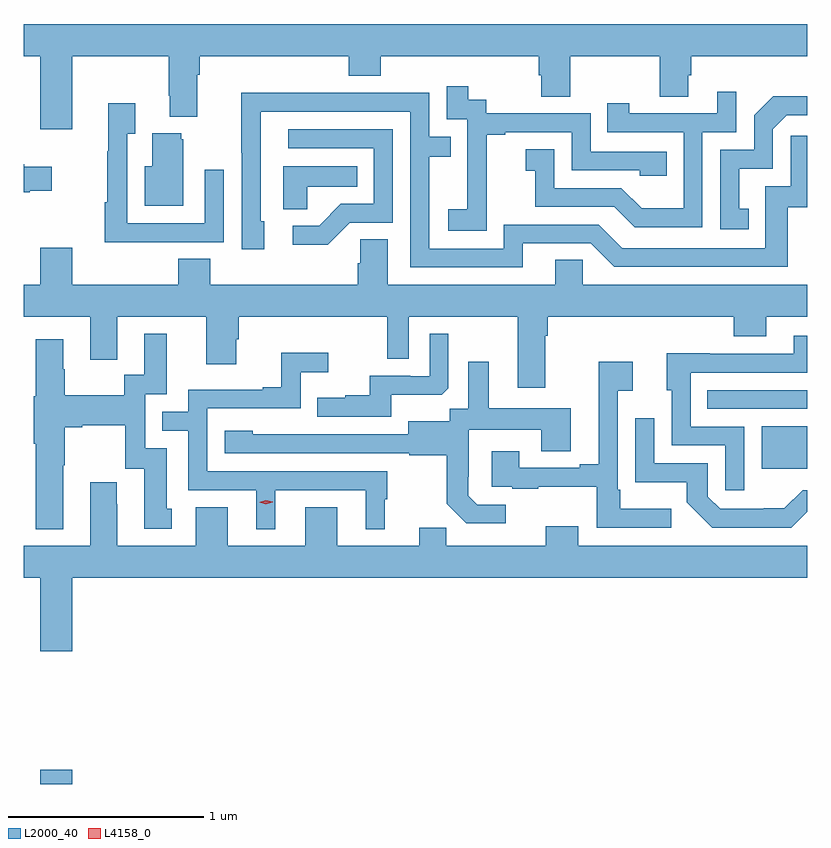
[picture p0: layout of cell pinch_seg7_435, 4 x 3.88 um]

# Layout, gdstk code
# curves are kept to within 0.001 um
import gdstk
lib = gdstk.Library(unit=1e-6, precision=1e-09)
def R(c, l, rs):  # rectangles x0, y0, x1, y1
    for r in rs: c.add(gdstk.rectangle(r[:2], r[2:], *l))
def P(c, l, *ps):  # polygons
    for p in ps: c.add(gdstk.Polygon(p, *l))
L2000_40 = (2000, 40)
L4158_0 = (4158, 0)

pinch_seg7_435 = lib.new_cell('pinch_seg7_435')
R(pinch_seg7_435, L2000_40, [(272.9,1062.167,273.064,1062.241), (276.584,1063.778,276.817,1063.993), (276.307,1064.082,276.817,1064.178)])
P(pinch_seg7_435, L2000_40, [(273.064,1065.884),(273.556,1065.884),(273.556,1065.682),(273.563,1065.682),(273.563,1065.575),(273.703,1065.575),(273.703,1065.788),(273.716,1065.788),(273.716,1065.884),(274.475,1065.884),(274.475,1065.785),(274.64,1065.785),(274.64,1065.884),(275.447,1065.884),(275.447,1065.786),(275.459,1065.786),(275.459,1065.676),(275.607,1065.676),(275.607,1065.884),(276.064,1065.884),(276.064,1065.676),(276.211,1065.676),(276.211,1065.786),(276.224,1065.786),(276.224,1065.884),(276.817,1065.884),(276.817,1066.048),(272.817,1066.048),(272.817,1065.884),(272.9,1065.884),(272.9,1065.51),(273.064,1065.51)],
  [(275.181,1065.199),(275.18,1065.199),(275.18,1065.483),(275.275,1065.483),(275.275,1065.495),(275.616,1065.495),(275.616,1065.3),(275.961,1065.3),(275.961,1065.273),(276.101,1065.273),(276.101,1065.396),(275.712,1065.396),(275.712,1065.591),(275.178,1065.591),(275.178,1065.66),(275.086,1065.66),(275.086,1065.73),(274.977,1065.73),(274.977,1065.561),(275.082,1065.561),(275.082,1065.332),(275.081,1065.332),(275.081,1065.103),(274.983,1065.103),(274.983,1064.993),(275.181,1064.993)],
  [(276.282,1065.495),(276.456,1065.495),(276.456,1065.703),(276.359,1065.703),(276.359,1065.591),(275.908,1065.591),(275.908,1065.643),(275.797,1065.643),(275.797,1065.495),(276.186,1065.495),(276.186,1065.106),(275.972,1065.106),(275.868,1065.21),(275.526,1065.21),(275.526,1065.409),(275.379,1065.409),(275.379,1065.299),(275.428,1065.299),(275.428,1065.114),(275.831,1065.114),(275.936,1065.009),(276.282,1065.009)],
  [(275.365,1064.928),(275.712,1064.928),(275.832,1064.808),(276.719,1064.808),(276.719,1065.111),(276.817,1065.111),(276.817,1065.478),(276.732,1065.478),(276.732,1065.219),(276.603,1065.219),(276.603,1064.904),(275.874,1064.904),(275.754,1065.024),(275.268,1065.024),(275.268,1064.901),(274.887,1064.901),(274.887,1065.37),(274.997,1065.37),(274.997,1065.471),(274.887,1065.471),(274.887,1065.696),(274.391,1065.696),(274.391,1065.698),(273.928,1065.698),(273.928,1065.391),(273.93,1065.391),(273.93,1064.898),(274.045,1064.898),(274.045,1065.042),(274.026,1065.042),(274.026,1065.6),(274.791,1065.6),(274.791,1064.805),(275.365,1064.805)],
  [(276.518,1065.105),(276.469,1065.105),(276.469,1065.309),(276.642,1065.309),(276.642,1065.51),(276.714,1065.582),(276.817,1065.582),(276.817,1065.68),(276.644,1065.68),(276.546,1065.582),(276.546,1065.405),(276.372,1065.405),(276.372,1065),(276.518,1065)],
  [(273.521,1064.934),(273.837,1064.934),(273.837,1065.304),(273.741,1065.304),(273.741,1065.03),(273.345,1065.03),(273.345,1065.487),(273.385,1065.487),(273.385,1065.643),(273.248,1065.643),(273.248,1065.398),(273.244,1065.398),(273.244,1065.137),(273.229,1065.137),(273.229,1064.933),(273.521,1064.933)],
  [(274.482,1065.033),(274.701,1065.033),(274.701,1065.51),(274.167,1065.51),(274.167,1065.414),(274.605,1065.414),(274.605,1065.129),(274.436,1065.129),(274.325,1065.018),(274.191,1065.018),(274.191,1064.921),(274.369,1064.921)],
  [(273.631,1065.459),(273.62,1065.459),(273.62,1065.49),(273.473,1065.49),(273.473,1065.322),(273.434,1065.322),(273.434,1065.119),(273.631,1065.119)],
  [(272.846,1065.197),(272.959,1065.197),(272.959,1065.319),(272.82,1065.319),(272.82,1065.332),(272.817,1065.332),(272.817,1065.19),(272.846,1065.19)],
  [(274.263,1065.218),(274.52,1065.218),(274.52,1065.322),(274.142,1065.322),(274.142,1065.103),(274.263,1065.103)],
  [(275.479,1064.456),(275.492,1064.456),(275.492,1064.552),(276.443,1064.552),(276.443,1064.453),(276.607,1064.453),(276.607,1064.552),(276.817,1064.552),(276.817,1064.716),(275.67,1064.716),(275.67,1064.843),(275.531,1064.843),(275.531,1064.716),(274.675,1064.716),(274.675,1064.948),(274.536,1064.948),(274.536,1064.825),(274.523,1064.825),(274.523,1064.716),(273.77,1064.716),(273.77,1064.849),(273.605,1064.849),(273.605,1064.716),(273.064,1064.716),(273.064,1064.905),(272.9,1064.905),(272.9,1064.716),(272.817,1064.716),(272.817,1064.552),(273.155,1064.552),(273.155,1064.334),(273.295,1064.334),(273.295,1064.552),(273.749,1064.552),(273.749,1064.31),(273.901,1064.31),(273.901,1064.439),(273.914,1064.439),(273.914,1064.552),(274.674,1064.552),(274.674,1064.338),(274.782,1064.338),(274.782,1064.552),(275.339,1064.552),(275.339,1064.19),(275.479,1064.19)],
  [(273.019,1063.795),(273.027,1063.795),(273.027,1063.988),(273.115,1063.988),(273.115,1064),(273.335,1064),(273.335,1063.776),(273.431,1063.776),(273.431,1063.47),(273.571,1063.47),(273.571,1063.572),(273.547,1063.572),(273.547,1063.881),(273.438,1063.881),(273.438,1064.157),(273.547,1064.157),(273.547,1064.467),(273.431,1064.467),(273.431,1064.258),(273.33,1064.258),(273.33,1064.152),(273.027,1064.152),(273.027,1064.286),(273.019,1064.286),(273.019,1064.437),(272.879,1064.437),(272.879,1064.148),(272.867,1064.148),(272.867,1063.904),(272.879,1063.904),(272.879,1063.469),(273.019,1063.469)],
  [(274.693,1064.156),(274.951,1064.156),(274.983,1064.187),(274.983,1064.467),(274.89,1064.467),(274.89,1064.25),(274.79,1064.25),(274.79,1064.253),(274.583,1064.253),(274.583,1064.152),(274.459,1064.152),(274.459,1064.14),(274.315,1064.14),(274.315,1064.043),(274.693,1064.043)],
  [(276.495,1063.992),(276.222,1063.992),(276.222,1064.268),(276.817,1064.268),(276.817,1064.455),(276.749,1064.455),(276.749,1064.364),(276.319,1064.364),(276.319,1064.366),(276.101,1064.366),(276.101,1064.178),(276.126,1064.178),(276.126,1063.896),(276.399,1063.896),(276.399,1063.668),(276.495,1063.668)],
  [(274.102,1063.668),(274.562,1063.668),(274.562,1063.469),(274.66,1063.469),(274.66,1063.62),(274.672,1063.62),(274.672,1063.764),(273.753,1063.764),(273.753,1064.085),(274.23,1064.085),(274.23,1064.27),(274.372,1064.27),(274.372,1064.369),(274.132,1064.369),(274.132,1064.194),(274.037,1064.194),(274.037,1064.181),(273.657,1064.181),(273.657,1064.067),(273.523,1064.067),(273.523,1063.971),(273.657,1063.971),(273.657,1063.668),(274.004,1063.668),(274.004,1063.469),(274.102,1063.469)],
  [(275.278,1063.593),(275.133,1063.593),(275.086,1063.64),(275.086,1063.735),(275.088,1063.735),(275.088,1063.976),(275.459,1063.976),(275.459,1063.867),(275.611,1063.867),(275.611,1064.086),(275.191,1064.086),(275.191,1064.323),(275.087,1064.323),(275.087,1064.084),(274.992,1064.084),(274.992,1064.02),(274.781,1064.02),(274.781,1063.953),(273.987,1063.954),(273.987,1063.972),(273.843,1063.972),(273.843,1063.857),(274.785,1063.857),(274.785,1063.845),(274.977,1063.845),(274.977,1063.599),(275.077,1063.499),(275.278,1063.499)],
  [(276.124,1063.573),(275.863,1063.573),(275.863,1063.669),(275.85,1063.669),(275.85,1064.174),(275.926,1064.174),(275.926,1064.323),(275.753,1064.323),(275.753,1063.801),(275.657,1063.801),(275.657,1063.782),(275.347,1063.782),(275.347,1063.867),(275.207,1063.867),(275.207,1063.686),(275.311,1063.686),(275.311,1063.674),(275.443,1063.674),(275.443,1063.685),(275.742,1063.685),(275.742,1063.476),(276.124,1063.476)],
  [(276.817,1063.558),(276.817,1063.668),(276.795,1063.668),(276.701,1063.574),(276.596,1063.574),(276.596,1063.572),(276.372,1063.572),(276.309,1063.635),(276.309,1063.806),(276.036,1063.806),(276.036,1064.035),(275.94,1064.035),(275.94,1063.709),(276.202,1063.709),(276.202,1063.607),(276.332,1063.476),(276.735,1063.476)],
  [(273.064,1063.22),(276.817,1063.22),(276.817,1063.384),(275.647,1063.384),(275.647,1063.483),(275.483,1063.483),(275.483,1063.384),(274.973,1063.384),(274.973,1063.475),(274.835,1063.475),(274.835,1063.384),(274.417,1063.384),(274.417,1063.579),(274.253,1063.579),(274.253,1063.384),(273.859,1063.384),(273.859,1063.579),(273.695,1063.579),(273.695,1063.384),(273.295,1063.384),(273.295,1063.595),(273.292,1063.595),(273.292,1063.708),(273.155,1063.708),(273.155,1063.384),(272.817,1063.384),(272.817,1063.22),(272.9,1063.22),(272.9,1062.846),(273.064,1062.846)])
P(pinch_seg7_435, L4158_0, [(274.053,1063.596),(274.018,1063.605),(274.017,1063.605),(274.018,1063.605),(274.053,1063.616),(274.088,1063.608),(274.089,1063.608),(274.088,1063.607)])

lib.write_gds('pinch_seg7_435.gds')
